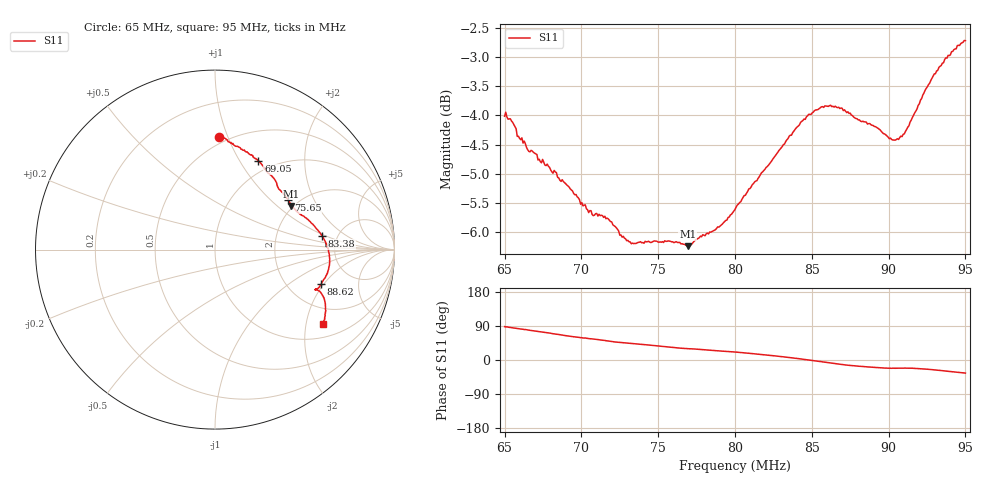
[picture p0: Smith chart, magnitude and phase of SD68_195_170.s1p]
! NanoVNA-App
! Date: 2025-08-09 16:25:23
! Start: 65MHz Stop: 95MHz Points: 401
! S-Parameter data: F S11
# Hz S RI R 50
!  Frequency  S11_Real  S11_Imag
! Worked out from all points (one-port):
!   401 points, 65 MHz to 95 MHz, reference 50 ohm
!   lowest |S11| = -6.2 dB at 76.92 MHz (marker M1), VSWR 2.91, Z = 97.1 + j62 ohm
!   |S11| at or under -10 dB: nowhere
!   S11 on the Smith chart (normalised r, x): 65 MHz: 0.45, +0.93; 69.05 MHz: 0.85, +1.21; 75.65 MHz: 1.77, +1.30; 83.38 MHz: 3.78, +0.91; 88.62 MHz: 2.98, -1.88; 95 MHz: 1.41, -2.51
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6.5e7  0.0213 0.6296
6.5525e7  0.056 0.6199
6.65e7  0.1094 0.5796
6.875e7  0.2267 0.5076
6.905e7  0.242 0.4943
7.0625e7  0.2924 0.4338
7.1975e7  0.3366 0.3853
7.25e7  0.3442 0.3606
7.34e7  0.3564 0.3367
7.565e7  0.4073 0.2777
7.625e7  0.4166 0.2606
7.6925e7  0.4228 0.2434
8e7  0.4894 0.1882
8.1875e7  0.5496 0.136
8.3375e7  0.5964 0.077
8.375e7  0.6069 0.0588
8.465e7  0.6292 0.00803
8.57e7  0.6395 -0.0571
8.675e7  0.6295 -0.1221
8.75e7  0.6139 -0.1577
8.8625e7  0.5893 -0.1936
8.945e7  0.574 -0.2157
9.02e7  0.5584 -0.2242
9.125e7  0.5732 -0.2272
9.185e7  0.5913 -0.2421
9.2975e7  0.6149 -0.3012
9.38e7  0.6142 -0.3485
9.5e7  0.6018 -0.4148
